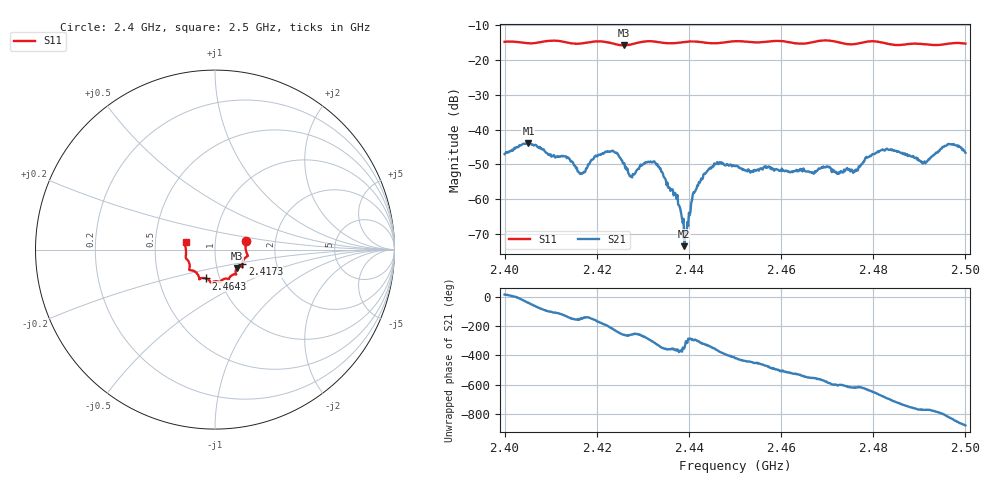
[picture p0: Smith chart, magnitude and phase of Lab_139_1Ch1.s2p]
# Hz S RI R 50
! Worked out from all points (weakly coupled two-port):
!   601 points, 2.4 GHz to 2.5 GHz, reference 50 ohm
!   highest |S21| = -43.92 dB at 2.4052 GHz (marker M1); lowest = -73.4 dB at 2.439 GHz (marker M2)
!   lowest |S11| = -15.9 dB at 2.4258 GHz (marker M3), VSWR 1.38, Z = 62.3 - j13.2 ohm
!   |S11| at or under -10 dB: start of sweep to end of sweep
!   S12 and S22 are empty: the file has one direction only
!   S11 on the Smith chart (normalised r, x): 2.4 GHz: 1.41, +0.14; 2.4173 GHz: 1.34, -0.23; 2.4643 GHz: 0.86, -0.29; 2.5 GHz: 0.72, +0.06
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2.4e9  0.173 0.0486  0.00432 0.00108  0 0  0 0
2.405167e9  0.1707 0.0121  0.00478 -0.00421  0 0  0 0
2.416667e9  0.1529 -0.0744  -0.00194 -0.00134  0 0  0 0
2.417333e9  0.152 -0.082  -0.00188 -0.00154  0 0  0 0
2.422333e9  0.1495 -0.0948  -0.00453 0.00151  0 0  0 0
2.425833e9  0.1219 -0.1032  -0.000594 0.00319  0 0  0 0
2.427667e9  0.1149 -0.1201  -0.000387 0.00202  0 0  0 0
2.430667e9  0.1185 -0.1384  0.000648 0.00335  0 0  0 0
2.433333e9  0.1128 -0.1375  0.00258 0.0014  0 0  0 0
2.437333e9  0.085 -0.1505  0.00101 -0.000155  0 0  0 0
2.439e9  0.0799 -0.1592  0.000212 3.03e-05  0 0  0 0
2.4395e9  0.0791 -0.1613  0.000241 0.000237  0 0  0 0
2.441333e9  0.0766 -0.1647  0.000504 0.0012  0 0  0 0
2.443667e9  0.0658 -0.1613  0.00207 0.00121  0 0  0 0
2.45e9  0.0286 -0.1811  0.00155 -0.00259  0 0  0 0
2.464333e9  -0.0502 -0.161  -0.00259 -5.14e-05  0 0  0 0
2.466667e9  -0.0761 -0.159  -0.00233 0.000577  0 0  0 0
2.476167e9  -0.118 -0.1187  -0.000474 0.00262  0 0  0 0
2.483333e9  -0.141 -0.09  0.00472 0.00198  0 0  0 0
2.490833e9  -0.1627 -0.0352  0.00202 -0.00258  0 0  0 0
2.496333e9  -0.1674 0.0223  -0.0012 -0.00606  0 0  0 0
2.5e9  -0.1637 0.0424  -0.00433 -0.00168  0 0  0 0
